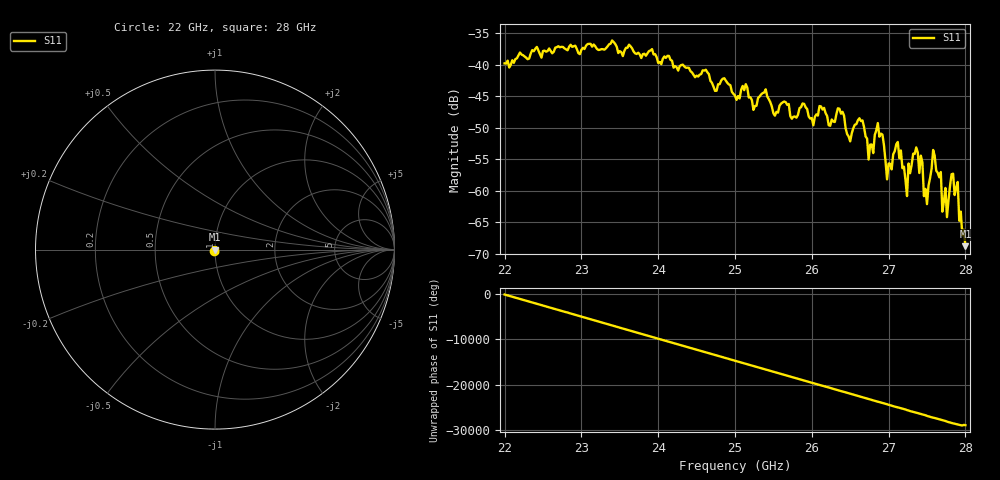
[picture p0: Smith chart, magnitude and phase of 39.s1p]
#  HZ  S  RI  R  50.00
! Rohde & Schwarz ZVA40 4Ports - Version 3.90 - 1145.1110k42 SN: 100403
! Date: 2023-10-04 06:16:51
! Measurement: S12
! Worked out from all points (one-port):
!   301 points, 22 GHz to 28 GHz, reference 50 ohm
!   lowest |S11| = -68.8 dB at 28 GHz (marker M1), VSWR 1.00, Z = 50 - j0.0309 ohm
!   |S11| at or under -10 dB: start of sweep to end of sweep
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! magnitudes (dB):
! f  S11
! 22 GHz  -39.8
! 22.76 GHz  -37.2
! 23.5 GHz  -37.8
! 24.26 GHz  -40.9
! 25 GHz  -44.9
! 25.4 GHz  -43.9
! 25.76 GHz  -48.2
! 26.36 GHz  -47.0
! 26.5 GHz  -52.2
! 26.66 GHz  -48.8
! 26.74 GHz  -55.0
! 26.86 GHz  -49.3
! 26.98 GHz  -58.2
! 27.12 GHz  -52.3
! 27.24 GHz  -60.8
! 27.26 GHz  -55.7
! 27.42 GHz  -54.4
! 27.5 GHz  -62.1
! 27.58 GHz  -53.5
! 27.68 GHz  -57.0
! 27.7 GHz  -63.3
! 27.74 GHz  -59.5
! 27.76 GHz  -64.2
! 27.84 GHz  -57.3
! 27.86 GHz  -60.7
! 27.9 GHz  -58.6
! 27.92 GHz  -64.8
! 28 GHz  -68.8
